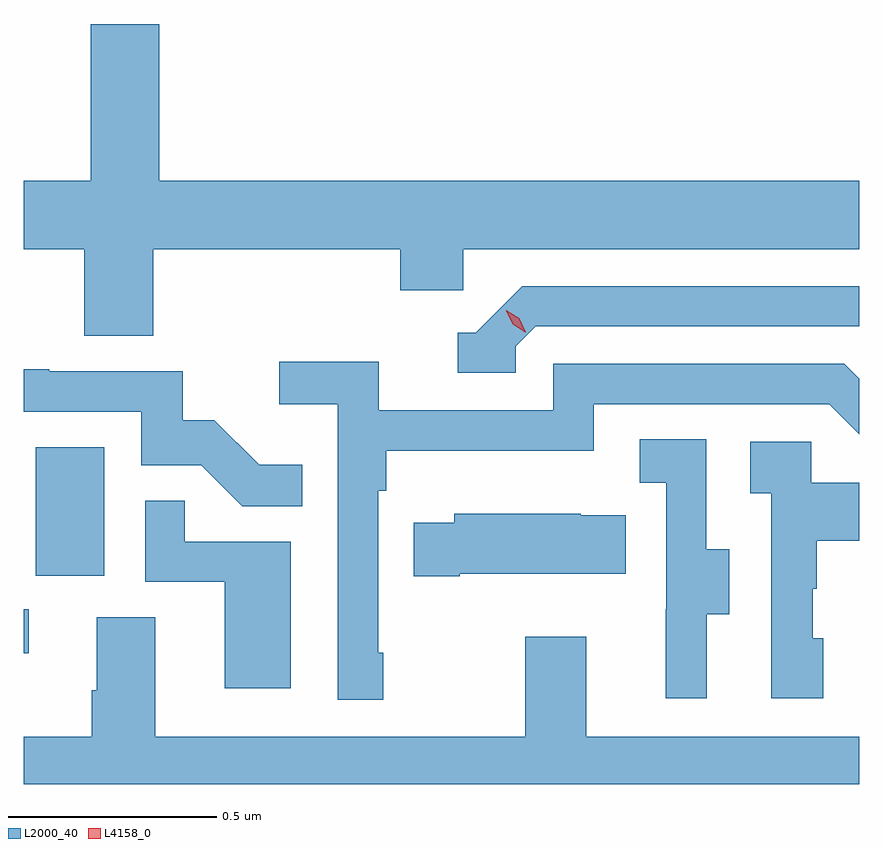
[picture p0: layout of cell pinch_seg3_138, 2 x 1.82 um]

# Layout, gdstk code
import gdstk
lib = gdstk.Library(unit=1e-6, precision=1e-09)
def R(c, l, rs):  # rectangles x0, y0, x1, y1
    for r in rs: c.add(gdstk.rectangle(r[:2], r[2:], *l))
def P(c, l, *ps):  # polygons
    for p in ps: c.add(gdstk.Polygon(p, *l))
L2000_40 = (2000, 40)
L4158_0 = (4158, 0)

pinch_seg3_138 = lib.new_cell('pinch_seg3_138')
R(pinch_seg3_138, L2000_40, [(1141.87,713.268,1141.882,713.373), (1141.898,713.454,1142.062,713.761)])
P(pinch_seg3_138, L2000_40, [(1142.18,714.236),(1142.771,714.236),(1142.771,714.138),(1142.922,714.138),(1142.922,714.236),(1143.87,714.236),(1143.87,714.4),(1142.194,714.4),(1142.194,714.775),(1142.03,714.775),(1142.03,714.4),(1141.87,714.4),(1141.87,714.236),(1142.015,714.236),(1142.015,714.028),(1142.18,714.028)],
  [(1143.048,714.003),(1143.096,714.051),(1143.87,714.051),(1143.87,714.147),(1143.063,714.147),(1142.952,714.036),(1142.909,714.036),(1142.909,713.94),(1143.048,713.94)],
  [(1142.731,713.269),(1142.718,713.269),(1142.718,713.657),(1142.738,713.657),(1142.738,713.753),(1143.234,713.753),(1143.234,713.865),(1143.798,713.865),(1143.87,713.793),(1143.87,713.926),(1143.835,713.961),(1143.138,713.961),(1143.138,713.85),(1142.72,713.85),(1142.72,713.966),(1142.481,713.966),(1142.481,713.864),(1142.622,713.864),(1142.622,713.157),(1142.731,713.157)],
  [(1142.537,713.719),(1142.433,713.719),(1142.326,713.826),(1142.25,713.826),(1142.25,713.943),(1141.931,713.943),(1141.931,713.948),(1141.87,713.948),(1141.87,713.847),(1142.151,713.847),(1142.151,713.718),(1142.295,713.718),(1142.393,713.62),(1142.537,713.62)],
  [(1143.505,713.362),(1143.559,713.362),(1143.559,713.517),(1143.504,713.517),(1143.504,713.78),(1143.345,713.78),(1143.345,713.677),(1143.408,713.677),(1143.408,713.373),(1143.407,713.373),(1143.407,713.16),(1143.505,713.16)],
  [(1143.784,713.304),(1143.759,713.304),(1143.759,713.423),(1143.769,713.423),(1143.769,713.537),(1143.87,713.537),(1143.87,713.677),(1143.756,713.677),(1143.756,713.775),(1143.609,713.775),(1143.609,713.651),(1143.66,713.651),(1143.66,713.16),(1143.784,713.16)],
  [(1142.509,713.535),(1142.255,713.535),(1142.255,713.633),(1142.16,713.633),(1142.16,713.439),(1142.351,713.439),(1142.351,713.184),(1142.509,713.184)],
  [(1142.914,713.459),(1143.311,713.459),(1143.311,713.599),(1143.203,713.599),(1143.203,713.602),(1142.901,713.602),(1142.901,713.581),(1142.803,713.581),(1142.803,713.452),(1142.914,713.452)],
  [(1143.87,713.068),(1143.217,713.068),(1143.217,713.308),(1143.07,713.308),(1143.07,713.068),(1142.185,713.068),(1142.185,713.354),(1142.045,713.354),(1142.045,713.18),(1142.033,713.18),(1142.033,713.068),(1141.87,713.068),(1141.87,712.955),(1143.87,712.955)])
P(pinch_seg3_138, L4158_0, [(1143.071,714.037),(1143.041,714.056),(1143.025,714.088),(1143.025,714.089),(1143.025,714.089),(1143.056,714.07),(1143.072,714.037),(1143.072,714.037)])

lib.write_gds('pinch_seg3_138.gds')
